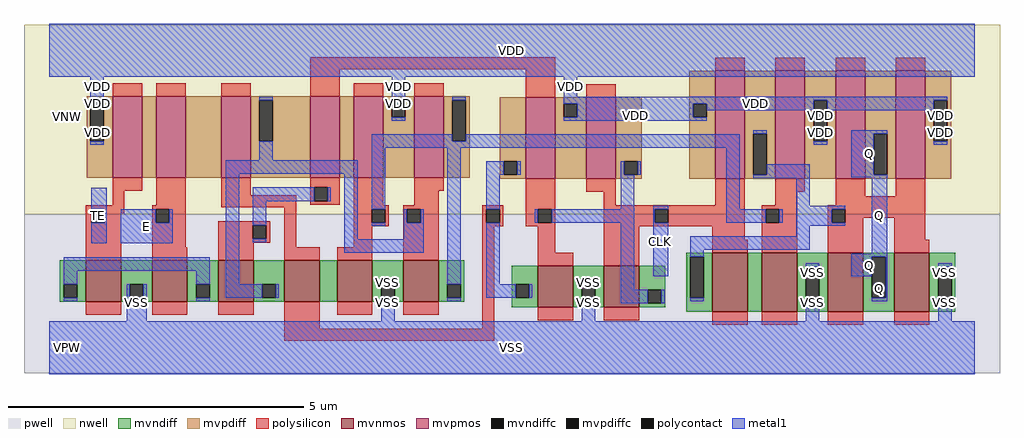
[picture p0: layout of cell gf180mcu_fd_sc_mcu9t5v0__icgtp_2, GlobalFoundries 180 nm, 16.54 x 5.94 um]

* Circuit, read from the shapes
.subckt gf180mcu_fd_sc_mcu9t5v0__icgtp_2 CLK E TE Q VDD VNW VPW VSS
XM1 VSS TE n1 VPW nfet_06v0 w=0.7u l=0.6u
XM2 n1 E VSS VPW nfet_06v0 w=0.7u l=0.6u
XM3 n2 n3 n1 VPW nfet_06v0 w=0.7u l=0.6u
XM4 n4 n5 n2 VPW nfet_06v0 w=0.7u l=0.6u
XM5 VSS n6 n4 VPW nfet_06v0 w=0.7u l=0.6u
XM6 n6 n2 VSS VPW nfet_06v0 w=0.7u l=0.6u
XM7 VSS n3 n5 VPW nfet_06v0 w=0.7u l=0.6u
XM8 n3 CLK VSS VPW nfet_06v0 w=0.7u l=0.6u
XM9 n7 CLK n8 VPW nfet_06v0 w=1u l=0.6u
XM10 VSS n6 n7 VPW nfet_06v0 w=1u l=0.6u
XM11 Q n8 VSS VPW nfet_06v0 w=1u l=0.6u m=2
XM12 n9 TE VDD VNW pfet_06v0 w=1.38u l=0.5u
XM13 n10 E n9 VNW pfet_06v0 w=1.38u l=0.5u
XM14 n2 n5 n10 VNW pfet_06v0 w=1.38u l=0.5u
XM15 n11 n3 n2 VNW pfet_06v0 w=1.38u l=0.5u
XM16 VDD n6 n11 VNW pfet_06v0 w=1.38u l=0.5u
XM17 n6 n2 VDD VNW pfet_06v0 w=1.38u l=0.5u
XM18 VDD n3 n5 VNW pfet_06v0 w=1.38u l=0.5u
XM19 n3 CLK VDD VNW pfet_06v0 w=1.38u l=0.5u
XM20 n8 CLK VDD VNW pfet_06v0 w=1.83u l=0.5u
XM21 VDD n6 n8 VNW pfet_06v0 w=1.83u l=0.5u
XM22 Q n8 VDD VNW pfet_06v0 w=1.83u l=0.5u m=2
.ends

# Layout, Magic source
magic
tech gf180mcuD
magscale 1 10
<< nwell >>
rect -86 453 3222 1094
<< pwell >>
rect -86 -86 3222 453
<< mvnmos >>
rect 124 156 244 296
rect 348 156 468 296
rect 572 156 692 296
rect 796 156 916 296
rect 975 156 1095 296
rect 1199 156 1319 296
rect 1655 137 1775 277
rect 1879 137 1999 277
rect 2247 122 2367 322
rect 2415 122 2535 322
rect 2639 122 2759 322
rect 2863 122 2983 322
<< mvpmos >>
rect 214 576 314 852
rect 362 576 462 852
rect 582 576 682 852
rect 884 576 984 852
rect 1032 576 1132 852
rect 1236 576 1336 852
rect 1615 573 1715 849
rect 1819 573 1919 849
rect 2257 573 2357 939
rect 2461 573 2561 939
rect 2665 573 2765 939
rect 2869 573 2969 939
<< mvndiff >>
rect 36 215 124 296
rect 36 169 49 215
rect 95 169 124 215
rect 36 156 124 169
rect 244 215 348 296
rect 244 169 273 215
rect 319 169 348 215
rect 244 156 348 169
rect 468 215 572 296
rect 468 169 497 215
rect 543 169 572 215
rect 468 156 572 169
rect 692 215 796 296
rect 692 169 721 215
rect 767 169 796 215
rect 692 156 796 169
rect 916 156 975 296
rect 1095 215 1199 296
rect 1095 169 1124 215
rect 1170 169 1199 215
rect 1095 156 1199 169
rect 1319 215 1407 296
rect 1319 169 1348 215
rect 1394 169 1407 215
rect 1319 156 1407 169
rect 2159 309 2247 322
rect 1567 215 1655 277
rect 1567 169 1580 215
rect 1626 169 1655 215
rect 1567 137 1655 169
rect 1775 215 1879 277
rect 1775 169 1804 215
rect 1850 169 1879 215
rect 1775 137 1879 169
rect 1999 196 2087 277
rect 1999 150 2028 196
rect 2074 150 2087 196
rect 1999 137 2087 150
rect 2159 169 2172 309
rect 2218 169 2247 309
rect 2159 122 2247 169
rect 2367 122 2415 322
rect 2535 275 2639 322
rect 2535 135 2564 275
rect 2610 135 2639 275
rect 2535 122 2639 135
rect 2759 309 2863 322
rect 2759 169 2788 309
rect 2834 169 2863 309
rect 2759 122 2863 169
rect 2983 275 3071 322
rect 2983 135 3012 275
rect 3058 135 3071 275
rect 2983 122 3071 135
<< mvpdiff >>
rect 126 839 214 852
rect 126 699 139 839
rect 185 699 214 839
rect 126 576 214 699
rect 314 576 362 852
rect 462 576 582 852
rect 682 839 884 852
rect 682 699 711 839
rect 757 699 884 839
rect 682 576 884 699
rect 984 576 1032 852
rect 1132 827 1236 852
rect 1132 781 1161 827
rect 1207 781 1236 827
rect 1132 576 1236 781
rect 1336 839 1424 852
rect 1336 699 1365 839
rect 1411 699 1424 839
rect 1336 576 1424 699
rect 1527 632 1615 849
rect 1527 586 1540 632
rect 1586 586 1615 632
rect 1527 573 1615 586
rect 1715 827 1819 849
rect 1715 781 1744 827
rect 1790 781 1819 827
rect 1715 573 1819 781
rect 1919 632 2007 849
rect 1919 586 1948 632
rect 1994 586 2007 632
rect 1919 573 2007 586
rect 2169 827 2257 939
rect 2169 781 2182 827
rect 2228 781 2257 827
rect 2169 573 2257 781
rect 2357 726 2461 939
rect 2357 586 2386 726
rect 2432 586 2461 726
rect 2357 573 2461 586
rect 2561 839 2665 939
rect 2561 699 2590 839
rect 2636 699 2665 839
rect 2561 573 2665 699
rect 2765 726 2869 939
rect 2765 586 2794 726
rect 2840 586 2869 726
rect 2765 573 2869 586
rect 2969 839 3057 939
rect 2969 699 2998 839
rect 3044 699 3057 839
rect 2969 573 3057 699
<< mvndiffc >>
rect 49 169 95 215
rect 273 169 319 215
rect 497 169 543 215
rect 721 169 767 215
rect 1124 169 1170 215
rect 1348 169 1394 215
rect 1580 169 1626 215
rect 1804 169 1850 215
rect 2028 150 2074 196
rect 2172 169 2218 309
rect 2564 135 2610 275
rect 2788 169 2834 309
rect 3012 135 3058 275
<< mvpdiffc >>
rect 139 699 185 839
rect 711 699 757 839
rect 1161 781 1207 827
rect 1365 699 1411 839
rect 1540 586 1586 632
rect 1744 781 1790 827
rect 1948 586 1994 632
rect 2182 781 2228 827
rect 2386 586 2432 726
rect 2590 699 2636 839
rect 2794 586 2840 726
rect 2998 699 3044 839
<< polysilicon >>
rect 884 944 1715 984
rect 214 852 314 896
rect 362 852 462 896
rect 582 852 682 896
rect 884 852 984 944
rect 1032 852 1132 896
rect 1236 852 1336 896
rect 1615 849 1715 944
rect 2257 939 2357 983
rect 2461 939 2561 983
rect 2665 939 2765 983
rect 2869 939 2969 983
rect 1819 849 1919 893
rect 214 532 314 576
rect 214 483 254 532
rect 362 483 462 576
rect 124 470 254 483
rect 124 424 142 470
rect 188 456 254 470
rect 348 470 462 483
rect 582 516 682 576
rect 884 543 984 576
rect 582 476 836 516
rect 884 497 897 543
rect 943 497 984 543
rect 884 484 984 497
rect 188 424 244 456
rect 124 296 244 424
rect 348 424 361 470
rect 407 424 462 470
rect 348 340 462 424
rect 572 415 748 428
rect 572 369 689 415
rect 735 369 748 415
rect 572 356 748 369
rect 348 296 468 340
rect 572 296 692 356
rect 796 340 836 476
rect 1032 483 1132 576
rect 1236 532 1336 576
rect 1236 483 1319 532
rect 1032 470 1151 483
rect 1032 424 1092 470
rect 1138 424 1151 470
rect 1032 411 1151 424
rect 1199 470 1319 483
rect 1199 424 1212 470
rect 1258 424 1319 470
rect 1032 340 1095 411
rect 796 296 916 340
rect 975 296 1095 340
rect 1199 296 1319 424
rect 1467 470 1539 483
rect 1467 424 1480 470
rect 1526 424 1539 470
rect 1467 411 1539 424
rect 1615 470 1715 573
rect 1819 529 1919 573
rect 1615 424 1656 470
rect 1702 424 1715 470
rect 1615 411 1715 424
rect 124 112 244 156
rect 348 112 468 156
rect 572 112 692 156
rect 796 64 916 156
rect 975 112 1095 156
rect 1199 112 1319 156
rect 1467 64 1507 411
rect 1655 321 1715 411
rect 1879 483 1919 529
rect 2257 483 2357 573
rect 2461 529 2561 573
rect 2461 483 2535 529
rect 2665 513 2765 573
rect 2869 513 2969 573
rect 2665 483 2969 513
rect 1879 470 2357 483
rect 1879 424 2052 470
rect 2098 424 2357 470
rect 1879 411 2357 424
rect 1655 277 1775 321
rect 1879 277 1999 411
rect 2247 366 2357 411
rect 2415 470 2535 483
rect 2415 424 2428 470
rect 2474 424 2535 470
rect 2247 322 2367 366
rect 2415 322 2535 424
rect 2639 470 2969 483
rect 2639 424 2652 470
rect 2698 441 2969 470
rect 2698 424 2759 441
rect 2639 322 2759 424
rect 2863 366 2969 441
rect 2863 322 2983 366
rect 1655 93 1775 137
rect 1879 93 1999 137
rect 2247 78 2367 122
rect 2415 78 2535 122
rect 2639 78 2759 122
rect 2863 78 2983 122
rect 796 24 1507 64
<< polycontact >>
rect 142 424 188 470
rect 897 497 943 543
rect 361 424 407 470
rect 689 369 735 415
rect 1092 424 1138 470
rect 1212 424 1258 470
rect 1480 424 1526 470
rect 1656 424 1702 470
rect 2052 424 2098 470
rect 2428 424 2474 470
rect 2652 424 2698 470
<< metal1 >>
rect 0 918 3136 1098
rect 139 839 185 918
rect 139 688 185 699
rect 711 839 757 850
rect 1161 827 1207 918
rect 1744 850 1790 918
rect 1161 770 1207 781
rect 1365 839 1411 850
rect 711 635 757 699
rect 1092 699 1365 724
rect 1744 839 3044 850
rect 1744 827 2590 839
rect 1790 781 2182 827
rect 2228 804 2590 827
rect 1744 770 2228 781
rect 2386 726 2432 737
rect 1411 699 2340 724
rect 1092 678 2340 699
rect 597 589 1046 635
rect 142 470 194 542
rect 188 424 194 470
rect 142 354 194 424
rect 242 424 361 470
rect 407 424 418 470
rect 242 354 418 424
rect 49 261 543 307
rect 49 215 95 261
rect 497 215 543 261
rect 49 158 95 169
rect 262 169 273 215
rect 319 169 330 215
rect 262 90 330 169
rect 597 215 643 589
rect 689 497 897 543
rect 943 497 954 543
rect 689 415 735 497
rect 689 358 735 369
rect 1000 367 1046 589
rect 1092 470 1138 678
rect 1092 413 1138 424
rect 1201 424 1212 470
rect 1258 424 1269 470
rect 1201 367 1269 424
rect 1000 321 1269 367
rect 1124 215 1170 226
rect 597 169 721 215
rect 767 169 778 215
rect 497 158 543 169
rect 1124 90 1170 169
rect 1348 215 1394 678
rect 1480 586 1540 632
rect 1586 586 1597 632
rect 1937 586 1948 632
rect 1994 586 2005 632
rect 1480 470 1526 586
rect 1937 470 1983 586
rect 1645 424 1656 470
rect 1702 424 1983 470
rect 1480 215 1526 424
rect 1804 215 1850 226
rect 1480 169 1580 215
rect 1626 169 1637 215
rect 1348 158 1394 169
rect 1804 90 1850 169
rect 1937 196 1983 424
rect 2046 470 2098 481
rect 2046 424 2052 470
rect 2294 470 2340 678
rect 2636 804 2998 839
rect 2590 688 2636 699
rect 2718 726 2840 737
rect 2432 586 2577 621
rect 2386 575 2577 586
rect 2718 586 2794 726
rect 2998 688 3044 699
rect 2718 578 2840 586
rect 2531 481 2577 575
rect 2531 470 2698 481
rect 2294 424 2428 470
rect 2474 424 2485 470
rect 2531 424 2652 470
rect 2046 242 2098 424
rect 2531 413 2698 424
rect 2531 378 2577 413
rect 2172 332 2577 378
rect 2172 309 2218 332
rect 2788 318 2840 578
rect 1937 150 2028 196
rect 2074 150 2085 196
rect 2718 309 2840 318
rect 2172 158 2218 169
rect 2564 275 2610 286
rect 2718 242 2788 309
rect 2834 169 2840 309
rect 2788 158 2840 169
rect 3012 275 3058 286
rect 2564 90 2610 135
rect 3012 90 3058 135
rect 0 -90 3136 90
<< labels >>
flabel metal1 s 2046 242 2098 481 0 FreeSans 200 0 0 0 CLK
port 1 nsew clock input
flabel metal1 s 242 354 418 470 0 FreeSans 200 0 0 0 E
port 2 nsew default input
flabel metal1 s 2718 578 2840 737 0 FreeSans 200 0 0 0 Q
port 4 nsew default output
flabel metal1 s 142 354 194 542 0 FreeSans 200 0 0 0 TE
port 3 nsew default input
flabel metal1 s 0 918 3136 1098 0 FreeSans 200 0 0 0 VDD
port 5 nsew power bidirectional abutment
flabel metal1 s 3012 226 3058 286 0 FreeSans 200 0 0 0 VSS
port 8 nsew ground bidirectional abutment
flabel nwell s 10 734 110 834 0 FreeSans 400 0 0 0 VNW
port 6 nsew power bidirectional
flabel pwell s 10 -50 110 50 0 FreeSans 400 0 0 0 VPW
port 7 nsew ground bidirectional
rlabel metal1 s 2788 318 2840 578 1 Q
port 4 nsew default output
rlabel metal1 s 2718 242 2840 318 1 Q
port 4 nsew default output
rlabel metal1 s 2788 158 2840 242 1 Q
port 4 nsew default output
rlabel metal1 s 1744 850 1790 918 1 VDD
port 5 nsew power bidirectional abutment
rlabel metal1 s 1161 850 1207 918 1 VDD
port 5 nsew power bidirectional abutment
rlabel metal1 s 139 850 185 918 1 VDD
port 5 nsew power bidirectional abutment
rlabel metal1 s 1744 804 3044 850 1 VDD
port 5 nsew power bidirectional abutment
rlabel metal1 s 1161 804 1207 850 1 VDD
port 5 nsew power bidirectional abutment
rlabel metal1 s 139 804 185 850 1 VDD
port 5 nsew power bidirectional abutment
rlabel metal1 s 2998 770 3044 804 1 VDD
port 5 nsew power bidirectional abutment
rlabel metal1 s 2590 770 2636 804 1 VDD
port 5 nsew power bidirectional abutment
rlabel metal1 s 1744 770 2228 804 1 VDD
port 5 nsew power bidirectional abutment
rlabel metal1 s 1161 770 1207 804 1 VDD
port 5 nsew power bidirectional abutment
rlabel metal1 s 139 770 185 804 1 VDD
port 5 nsew power bidirectional abutment
rlabel metal1 s 2998 688 3044 770 1 VDD
port 5 nsew power bidirectional abutment
rlabel metal1 s 2590 688 2636 770 1 VDD
port 5 nsew power bidirectional abutment
rlabel metal1 s 139 688 185 770 1 VDD
port 5 nsew power bidirectional abutment
rlabel metal1 s 2564 226 2610 286 1 VSS
port 8 nsew ground bidirectional abutment
rlabel metal1 s 3012 215 3058 226 1 VSS
port 8 nsew ground bidirectional abutment
rlabel metal1 s 2564 215 2610 226 1 VSS
port 8 nsew ground bidirectional abutment
rlabel metal1 s 1804 215 1850 226 1 VSS
port 8 nsew ground bidirectional abutment
rlabel metal1 s 1124 215 1170 226 1 VSS
port 8 nsew ground bidirectional abutment
rlabel metal1 s 3012 90 3058 215 1 VSS
port 8 nsew ground bidirectional abutment
rlabel metal1 s 2564 90 2610 215 1 VSS
port 8 nsew ground bidirectional abutment
rlabel metal1 s 1804 90 1850 215 1 VSS
port 8 nsew ground bidirectional abutment
rlabel metal1 s 1124 90 1170 215 1 VSS
port 8 nsew ground bidirectional abutment
rlabel metal1 s 262 90 330 215 1 VSS
port 8 nsew ground bidirectional abutment
rlabel metal1 s 0 -90 3136 90 1 VSS
port 8 nsew ground bidirectional abutment
<< properties >>
string FIXED_BBOX 0 0 3136 1008
string GDS_END 860000
string GDS_FILE $PDKPATH/libs.ref/gf180mcu_fd_sc_mcu9t5v0/gds/gf180mcu_fd_sc_mcu9t5v0.gds
string GDS_START 852444
string LEFclass core
string LEFsite GF018hv5v_green_sc9
string LEFsymmetry X Y
<< end >>
